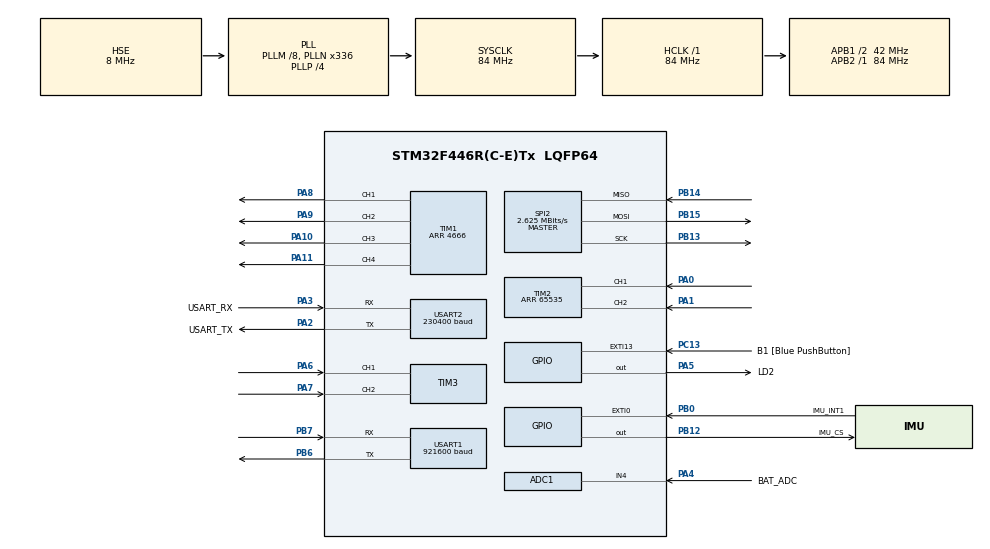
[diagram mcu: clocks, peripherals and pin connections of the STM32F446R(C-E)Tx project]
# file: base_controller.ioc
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ADC1.Channel-0\#ChannelRegularConversion=ADC_CHANNEL_4
ADC1.NbrOfConversionFlag=1
ADC1.Rank-0\#ChannelRegularConversion=1
ADC1.SamplingTime-0\#ChannelRegularConversion=ADC_SAMPLETIME_480CYCLES
ADC1.master=1
Dma.Request0=USART1_RX
Dma.Request1=USART1_TX
Dma.USART1_RX.0.Direction=DMA_PERIPH_TO_MEMORY
Dma.USART1_RX.0.FIFOMode=DMA_FIFOMODE_DISABLE
Dma.USART1_RX.0.Instance=DMA2_Stream2
Dma.USART1_RX.0.MemDataAlignment=DMA_MDATAALIGN_BYTE
Dma.USART1_RX.0.MemInc=DMA_MINC_ENABLE
Dma.USART1_RX.0.Mode=DMA_CIRCULAR
Dma.USART1_RX.0.PeriphDataAlignment=DMA_PDATAALIGN_BYTE
Dma.USART1_RX.0.PeriphInc=DMA_PINC_DISABLE
Dma.USART1_RX.0.Priority=DMA_PRIORITY_LOW
Dma.USART1_TX.1.Direction=DMA_MEMORY_TO_PERIPH
Dma.USART1_TX.1.FIFOMode=DMA_FIFOMODE_DISABLE
Dma.USART1_TX.1.Instance=DMA2_Stream7
Dma.USART1_TX.1.MemDataAlignment=DMA_MDATAALIGN_BYTE
Dma.USART1_TX.1.MemInc=DMA_MINC_ENABLE
Dma.USART1_TX.1.Mode=DMA_NORMAL
Dma.USART1_TX.1.PeriphDataAlignment=DMA_PDATAALIGN_BYTE
Dma.USART1_TX.1.PeriphInc=DMA_PINC_DISABLE
Dma.USART1_TX.1.Priority=DMA_PRIORITY_LOW
FREERTOS.Tasks01=defaultTask,24,128,StartDefaultTask,Default,NULL,Static,defaultTaskBuffer,defaultTaskControlBlock
FREERTOS.configCHECK_FOR_STACK_OVERFLOW=2
FREERTOS.configTIMER_QUEUE_LENGTH=8
FREERTOS.configTIMER_TASK_PRIORITY=1
FREERTOS.configUSE_MALLOC_FAILED_HOOK=1
IWDG.Prescaler=IWDG_PRESCALER_32
IWDG.Reload=250
Mcu.Family=STM32F4
Mcu.Name=STM32F446R(C-E)Tx
Mcu.Package=LQFP64
NVIC.DMA2_Stream2_IRQn=true\:6\:0\:true\:false\:true\:true\:false\:true\:true
NVIC.DMA2_Stream7_IRQn=true\:6\:0\:true\:false\:true\:true\:false\:true\:true
NVIC.EXTI0_IRQn=true\:5\:0\:false\:false\:true\:true\:true\:true\:true
NVIC.PriorityGroup=NVIC_PRIORITYGROUP_4
NVIC.TIM6_DAC_IRQn=true\:5\:0\:false\:false\:true\:true\:true\:true\:true
NVIC.TIM7_IRQn=true\:14\:0\:true\:false\:true\:false\:false\:true\:true
NVIC.TimeBase=TIM7_IRQn
NVIC.TimeBaseIP=TIM7
NVIC.USART1_IRQn=true\:6\:0\:true\:false\:true\:true\:true\:true\:true
NVIC.USART2_IRQn=true\:6\:0\:true\:false\:true\:true\:true\:true\:true
PA0-WKUP.Signal=S_TIM2_CH1_ETR
PA1.Signal=S_TIM2_CH2
PA10.GPIO_Speed=GPIO_SPEED_FREQ_HIGH
PA10.Signal=S_TIM1_CH3
PA11.GPIO_Speed=GPIO_SPEED_FREQ_HIGH
PA11.Signal=S_TIM1_CH4
PA13.GPIO_Label=TMS
PA13.Mode=Serial_Wire
PA13.Signal=SYS_JTMS-SWDIO
PA14.GPIO_Label=TCK
PA14.Mode=Serial_Wire
PA14.Signal=SYS_JTCK-SWCLK
PA2.GPIO_Label=USART_TX
PA2.Mode=Asynchronous
PA2.Signal=USART2_TX
PA3.GPIO_Label=USART_RX
PA3.Mode=Asynchronous
PA3.Signal=USART2_RX
PA4.GPIO_Label=BAT_ADC
PA4.Signal=ADCx_IN4
PA5.GPIO_Label=LD2
PA5.Signal=GPIO_Output
PA6.Signal=S_TIM3_CH1
PA7.Signal=S_TIM3_CH2
PA8.GPIO_Speed=GPIO_SPEED_FREQ_HIGH
PA8.Signal=S_TIM1_CH1
PA9.GPIO_Speed=GPIO_SPEED_FREQ_HIGH
PA9.Signal=S_TIM1_CH2
PB0.GPIO_Label=IMU_INT1
PB0.GPIO_PuPd=GPIO_PULLDOWN
PB0.Signal=GPXTI0
PB12.GPIO_Label=IMU_CS
PB12.PinState=GPIO_PIN_SET
PB12.Signal=GPIO_Output
PB13.GPIO_Speed=GPIO_SPEED_FREQ_MEDIUM
PB13.Mode=Full_Duplex_Master
PB13.Signal=SPI2_SCK
PB14.GPIO_Speed=GPIO_SPEED_FREQ_MEDIUM
PB14.Mode=Full_Duplex_Master
PB14.Signal=SPI2_MISO
PB15.GPIO_Speed=GPIO_SPEED_FREQ_MEDIUM
PB15.Mode=Full_Duplex_Master
PB15.Signal=SPI2_MOSI
PB3.GPIO_Label=SWO
PB3.Signal=SYS_JTDO-SWO
PB6.Mode=Asynchronous
PB6.Signal=USART1_TX
PB7.GPIO_PuPd=GPIO_PULLUP
PB7.Mode=Asynchronous
PB7.Signal=USART1_RX
PC13.GPIO_Label=B1 [Blue PushButton]
PC13.GPIO_ModeDefaultEXTI=GPIO_MODE_IT_FALLING
PC13.Signal=GPXTI13
PC14-OSC32_IN.Signal=RCC_OSC32_IN
PC15-OSC32_OUT.Signal=RCC_OSC32_OUT
PH0-OSC_IN.Mode=HSE-External-Clock-Source
PH0-OSC_IN.Signal=RCC_OSC_IN
PH1-OSC_OUT.Mode=HSE-External-Clock-Source
PH1-OSC_OUT.Signal=RCC_OSC_OUT
ProjectManager.HeapSize=0x200
ProjectManager.StackSize=0x800
ProjectManager.TargetToolchain=CMake
RCC.AHBFreq_Value=84000000
RCC.APB1CLKDivider=RCC_HCLK_DIV2
RCC.APB1Freq_Value=42000000
RCC.APB1TimFreq_Value=84000000
RCC.APB2Freq_Value=84000000
RCC.APB2TimFreq_Value=84000000
RCC.CortexFreq_Value=84000000
RCC.FLatency-AdvancedSettings=FLASH_LATENCY_2
RCC.HCLKFreq_Value=84000000
RCC.HSE_VALUE=8000000
RCC.HSI_VALUE=16000000
RCC.LSE_VALUE=32768
RCC.PLLM=8
RCC.PLLN=336
RCC.PLLP=RCC_PLLP_DIV4
RCC.PLLSourceVirtual=RCC_PLLSOURCE_HSE
RCC.SYSCLKFreq_VALUE=84000000
RCC.SYSCLKSource=RCC_SYSCLKSOURCE_PLLCLK
RCC.USBFreq_Value=168000000
RCC.VCOOutputFreq_Value=336000000
SH.ADCx_IN4.0=ADC1_IN4,IN4
SH.S_TIM1_CH1.0=TIM1_CH1,PWM Generation1 CH1
SH.S_TIM1_CH2.0=TIM1_CH2,PWM Generation2 CH2
SH.S_TIM1_CH3.0=TIM1_CH3,PWM Generation3 CH3
SH.S_TIM1_CH4.0=TIM1_CH4,PWM Generation4 CH4
SH.S_TIM2_CH1_ETR.0=TIM2_CH1,Encoder_Interface
SH.S_TIM2_CH2.0=TIM2_CH2,Encoder_Interface
SH.S_TIM3_CH1.0=TIM3_CH1,Encoder_Interface
SH.S_TIM3_CH2.0=TIM3_CH2,Encoder_Interface
SPI2.BaudRatePrescaler=SPI_BAUDRATEPRESCALER_16
SPI2.CalculateBaudRate=2.625 MBits/s
SPI2.Direction=SPI_DIRECTION_2LINES
SPI2.Mode=SPI_MODE_MASTER
SPI2.VirtualType=VM_MASTER
TIM1.AutoReloadPreload=TIM_AUTORELOAD_PRELOAD_ENABLE
TIM1.Channel-PWM\ Generation1\ CH1=TIM_CHANNEL_1
TIM1.Channel-PWM\ Generation2\ CH2=TIM_CHANNEL_2
TIM1.Channel-PWM\ Generation3\ CH3=TIM_CHANNEL_3
TIM1.Channel-PWM\ Generation4\ CH4=TIM_CHANNEL_4
TIM1.Period=4666
TIM2.EncoderMode=TIM_ENCODERMODE_TI12
TIM2.IC1Filter=4
TIM2.IC2Filter=4
TIM2.Period=65535
TIM3.EncoderMode=TIM_ENCODERMODE_TI12
TIM3.IC1Filter=4
TIM3.IC2Filter=4
TIM6.AutoReloadPreload=TIM_AUTORELOAD_PRELOAD_ENABLE
TIM6.Period=99
TIM6.Prescaler=8399
USART1.BaudRate=921600
USART1.VirtualMode=VM_ASYNC
USART2.BaudRate=230400
USART2.VirtualMode=VM_ASYNC
VP_FREERTOS_VS_CMSIS_V2.Mode=CMSIS_V2
VP_IWDG_VS_IWDG.Mode=IWDG_Activate
VP_SYS_VS_tim7.Mode=TIM7
VP_TIM1_VS_ClockSourceINT.Mode=Internal
VP_TIM6_VS_ClockSourceINT.Mode=Enable_Timer
board=NUCLEO-F446RE

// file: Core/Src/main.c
/* USER CODE BEGIN Header */
/**
  ******************************************************************************
  * @file           : main.c
  * @brief          : Main program body
  ******************************************************************************
  * @attention
  *
  * Copyright (c) 2026 STMicroelectronics.
  * All rights reserved.
  *
  * This software is licensed under terms that can be found in the LICENSE file
  * in the root directory of this software component.
  * If no LICENSE file comes with this software, it is provided AS-IS.
  *
  ******************************************************************************
  */
/* USER CODE END Header */
#include "main.h"
#include "cmsis_os.h"
#include "adc.h"
#include "dma.h"
#include "iwdg.h"
#include "spi.h"
#include "tim.h"
#include "usart.h"
#include "gpio.h"

/* USER CODE BEGIN Includes */
#include "app_main.h"
#include "platform_stm32.h"
#include "rtos_app.h"

/* USER CODE END Includes */

/* USER CODE BEGIN PD */
/* 애플리케이션 상수는 전부 App/Inc/app_config.h에 있다. */

/* USER CODE END PD */

/* USER CODE BEGIN PV */
/* 애플리케이션 상태는 전부 App/Src/app_main.c에 있다. */

/* USER CODE END PV */

void SystemClock_Config(void);
void MX_FREERTOS_Init(void);

/* USER CODE BEGIN 0 */
/* 파서/빌더/모터 정책/워치독은 App/에, HAL 콜백은 App/Src/platform_stm32.c에 있다. */

/* USER CODE END 0 */

int main(void)
{

  /* MCU Configuration--------------------------------------------------------*/

  /* Reset of all peripherals, Initializes the Flash interface and the Systick. */
  HAL_Init();

  /* USER CODE BEGIN Init */
  /* reset 원인은 RCC flag를 지우기 전에 보존한다. debugger halt 중에는 IWDG를
     멈춰 SWD 계측이 reset을 유발하지 않게 한다. 둘 다 IWDG 시작보다 앞선다. */
  platform_boot_snapshot_reset_flags();
  __HAL_DBGMCU_FREEZE_IWDG();
  /* HSE는 ST-LINK MCO다. ST-Link USB 없이 전원을 넣으면 HAL의 100 ms보다 늦게
     나오므로 SystemClock_Config 전에 여기서 먼저 기다린다. */
  platform_boot_wait_hse();

  /* USER CODE END Init */

  /* Configure the system clock */
  SystemClock_Config();

  /* Initialize all configured peripherals */
  MX_GPIO_Init();
  MX_DMA_Init();
  MX_USART2_UART_Init();
  MX_TIM2_Init();
  MX_TIM3_Init();
  MX_TIM1_Init();
  MX_TIM6_Init();
  MX_IWDG_Init();
  MX_USART1_UART_Init();
  MX_ADC1_Init();
  MX_SPI2_Init();
  /* USER CODE BEGIN 2 */
  /* TIM1 ARR 대조, CCR 0 확정, PWM/엔코더 기동, DWT 활성화까지 여기서 끝난다.
     인터럽트 원(USART2 RX, TIM6)은 여기서 켜지 않는다. task handle과 static
     mailbox가 생긴 뒤 각 소유 task의 첫머리에서 시작한다. */
  if (!app_init())
  {
    Error_Handler();
  }

  /* USER CODE END 2 */

  /* Init scheduler */
  osKernelInitialize();  /* Call init function for freertos objects (in cmsis_os2.c) */
  MX_FREERTOS_Init();

  /* Start scheduler */
  osKernelStart();

  /* We should never get here as control is now taken by the scheduler */

  /* Infinite loop */
  /* USER CODE BEGIN WHILE */
  while (1)
  {
    /* scheduler가 돌아왔다면 커널을 시작하지 못한 것이다. 애플리케이션은
       ControlTask/LegacyIoTask 안에서 도므로 여기서 할 일이 없다. 모터를 끊고
       멈춘다. */
    Error_Handler();
    /* USER CODE END WHILE */

  }
}

void SystemClock_Config(void)
{
  RCC_OscInitTypeDef RCC_OscInitStruct = {0};
  RCC_ClkInitTypeDef RCC_ClkInitStruct = {0};

  /** Configure the main internal regulator output voltage
  */
  __HAL_RCC_PWR_CLK_ENABLE();
  __HAL_PWR_VOLTAGESCALING_CONFIG(PWR_REGULATOR_VOLTAGE_SCALE3);

  /** Initializes the RCC Oscillators according to the specified parameters
  * in the RCC_OscInitTypeDef structure.
  */
  RCC_OscInitStruct.OscillatorType = RCC_OSCILLATORTYPE_LSI|RCC_OSCILLATORTYPE_HSE;
  RCC_OscInitStruct.HSEState = RCC_HSE_BYPASS;
  RCC_OscInitStruct.LSIState = RCC_LSI_ON;
  RCC_OscInitStruct.PLL.PLLState = RCC_PLL_ON;
  RCC_OscInitStruct.PLL.PLLSource = RCC_PLLSOURCE_HSE;
  RCC_OscInitStruct.PLL.PLLM = 8;
  RCC_OscInitStruct.PLL.PLLN = 336;
  RCC_OscInitStruct.PLL.PLLP = RCC_PLLP_DIV4;
  RCC_OscInitStruct.PLL.PLLQ = 2;
  RCC_OscInitStruct.PLL.PLLR = 2;
  if (HAL_RCC_OscConfig(&RCC_OscInitStruct) != HAL_OK)
  {
    Error_Handler();
  }

  /** Initializes the CPU, AHB and APB buses clocks
  */
  RCC_ClkInitStruct.ClockType = RCC_CLOCKTYPE_HCLK|RCC_CLOCKTYPE_SYSCLK
                              |RCC_CLOCKTYPE_PCLK1|RCC_CLOCKTYPE_PCLK2;
  RCC_ClkInitStruct.SYSCLKSource = RCC_SYSCLKSOURCE_PLLCLK;
  RCC_ClkInitStruct.AHBCLKDivider = RCC_SYSCLK_DIV1;
  RCC_ClkInitStruct.APB1CLKDivider = RCC_HCLK_DIV2;
  RCC_ClkInitStruct.APB2CLKDivider = RCC_HCLK_DIV1;

  if (HAL_RCC_ClockConfig(&RCC_ClkInitStruct, FLASH_LATENCY_2) != HAL_OK)
  {
    Error_Handler();
  }
}

void HAL_TIM_PeriodElapsedCallback(TIM_HandleTypeDef *htim)
{
  if (htim->Instance == TIM7)
  {
    HAL_IncTick();
  }
}

void Error_Handler(void)
{
  /* USER CODE BEGIN Error_Handler_Debug */
  /* 여기서 멈추는 순간 모터가 돌고 있을 수 있다. 소프트웨어 워치독은 task가 돌아야
     동작하므로 무한 루프에 들어가기 전에 직접 끈다. */
  platform_motor_kill();

  /* User can add his own implementation to report the HAL error return state */
  __disable_irq();
  while (1)
  {
  }
  /* USER CODE END Error_Handler_Debug */
}

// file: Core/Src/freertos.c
/* USER CODE BEGIN Header */
/**
  ******************************************************************************
  * File Name          : freertos.c
  * Description        : Code for freertos applications
  ******************************************************************************
  * @attention
  *
  * Copyright (c) 2026 STMicroelectronics.
  * All rights reserved.
  *
  * This software is licensed under terms that can be found in the LICENSE file
  * in the root directory of this software component.
  * If no LICENSE file comes with this software, it is provided AS-IS.
  *
  ******************************************************************************
  */
/* USER CODE END Header */

#include "FreeRTOS.h"
#include "task.h"
#include "main.h"
#include "cmsis_os.h"

/* USER CODE BEGIN Includes */
#include "platform_stm32.h"
#include "rtos_app.h"
/* USER CODE END Includes */

typedef StaticTask_t osStaticThreadDef_t;

/* CubeMX는 FreeRTOS task를 최소 하나 요구하므로 .ioc에는 placeholder
   defaultTask가 남아 있다. application task는 전부 App/Src/rtos_app.c가 native
   xTaskCreateStatic으로 만들며, 생성 직후 아래 placeholder 정의/생성/함수를 다시
   제거한다. */

void MX_FREERTOS_Init(void); /* (MISRA C 2004 rule 8.1) */

/* Hook prototypes */
void vApplicationStackOverflowHook(xTaskHandle xTask, signed char *pcTaskName);
void vApplicationMallocFailedHook(void);

/* USER CODE BEGIN 4 */
void vApplicationStackOverflowHook(xTaskHandle xTask, signed char *pcTaskName)
{
  /* configCHECK_FOR_STACK_OVERFLOW=2로 켜져 있다. 여기 왔다는 것은 어느 task의
     상태든 믿을 수 없다는 뜻이므로, 돌아가지 않고 모터부터 끊는다. */
  (void)xTask;
  (void)pcTaskName;
  rtos_app_fatal();
}
/* USER CODE END 4 */

/* USER CODE BEGIN 5 */
/* configSUPPORT_DYNAMIC_ALLOCATION=0인 최종 image에는 pvPortMalloc 자체가 없으므로
   이 hook으로 오는 경로도 없다. 생성 설정을 보존하되, 만에 하나 동적 할당 경로가
   되살아나면 조용히 넘어가지 않고 모터를 끊고 멈추게 둔다. */
void vApplicationMallocFailedHook(void)
{
  rtos_app_fatal();
   /* vApplicationMallocFailedHook() will only be called if
   configUSE_MALLOC_FAILED_HOOK is set to 1 in FreeRTOSConfig.h. It is a hook
   function that will get called if a call to pvPortMalloc() fails.
   pvPortMalloc() is called internally by the kernel whenever a task, queue,
   timer or semaphore is created. It is also called by various parts of the
   demo application. If heap_1.c or heap_2.c are used, then the size of the
   heap available to pvPortMalloc() is defined by configTOTAL_HEAP_SIZE in
   FreeRTOSConfig.h, and the xPortGetFreeHeapSize() API function can be used
   to query the size of free heap space that remains (although it does not
   provide information on how the remaining heap might be fragmented). */
}
/* USER CODE END 5 */

void MX_FREERTOS_Init(void) {

  /* USER CODE BEGIN RTOS_THREADS */
  /* application task와 mailbox는 전부 여기서 static으로 만든다. 이 호출이 끝난
     뒤에야 TIM6/USART2 인터럽트가 켜지므로, handle 없는 ISR이 뜰 수 없다. */
  rtos_app_init();
  /* USER CODE END RTOS_THREADS */

}
